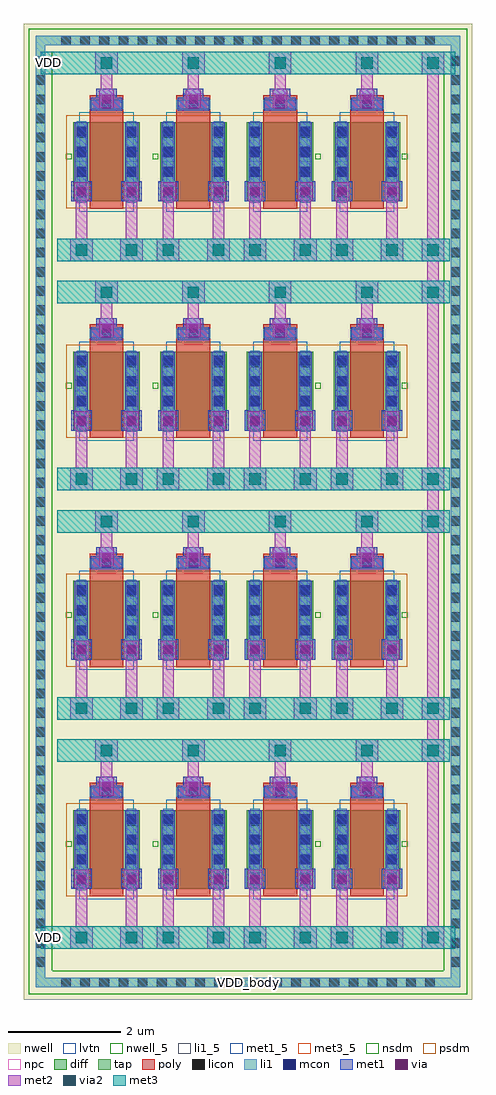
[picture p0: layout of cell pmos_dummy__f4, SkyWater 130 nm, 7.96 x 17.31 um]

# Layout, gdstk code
from math import pi, radians
import gdstk
lib = gdstk.Library(unit=1e-6, precision=1e-09)
def R(c, l, rs):  # rectangles x0, y0, x1, y1
    for r in rs: c.add(gdstk.rectangle(r[:2], r[2:], *l))
def A(c, l, x, y, w, h, nx, ny, dx, dy):  # array of equal rectangles
    R(c, l, [(x+i*dx, y+j*dy, x+i*dx+w, y+j*dy+h) for i in range(nx) for j in range(ny)])
nwell_5 = (64, 5)
nwell = (64, 20)
diff = (65, 20)
tap = (65, 44)
poly = (66, 20)
licon = (66, 44)
li1_5 = (67, 5)
li1 = (67, 20)
mcon = (67, 44)
met1_5 = (68, 5)
met1 = (68, 20)
via = (68, 44)
met2 = (69, 20)
via2 = (69, 44)
met3_5 = (70, 5)
met3 = (70, 20)
nsdm = (93, 44)
psdm = (94, 20)
npc = (95, 20)
lvtn = (125, 44)

sky130_fd_pr__pfet_01v8_ = lib.new_cell('sky130_fd_pr__pfet_01v8_lvt_L7GY3J')
R(sky130_fd_pr__pfet_01v8_, nwell, [(-0.77,-1.19,0.77,1.02)])
R(sky130_fd_pr__pfet_01v8_, diff, [(-0.59,-0.88,0.59,0.52)])
R(sky130_fd_pr__pfet_01v8_, poly, [(-0.3,-1.01,0.3,1.005)])
A(sky130_fd_pr__pfet_01v8_, licon, -0.53, -0.775, 0.17, 0.17, 1, 4, 0, 0.34)
A(sky130_fd_pr__pfet_01v8_, licon, 0.36, -0.775, 0.17, 0.17, 1, 4, 0, 0.34)
R(sky130_fd_pr__pfet_01v8_, licon, [(-0.085,0.755,0.085,0.925)])
R(sky130_fd_pr__pfet_01v8_, li1, [(-0.53,-0.9,-0.36,0.54), (0.36,-0.9,0.53,0.54), (-0.3,0.755,0.3,0.925)])
A(sky130_fd_pr__pfet_01v8_, mcon, -0.53, -0.805, 0.17, 0.17, 1, 4, 0, 0.36)
A(sky130_fd_pr__pfet_01v8_, mcon, 0.36, -0.805, 0.17, 0.17, 1, 4, 0, 0.36)
R(sky130_fd_pr__pfet_01v8_, mcon, [(-0.085,0.755,0.085,0.925)])
R(sky130_fd_pr__pfet_01v8_, met1, [(-0.56,-0.88,-0.33,0.52), (0.33,-0.88,0.56,0.52), (-0.28,0.725,0.28,0.955)])
R(sky130_fd_pr__pfet_01v8_, psdm, [(-0.715,-1.005,0.715,0.645)])
R(sky130_fd_pr__pfet_01v8_, npc, [(-0.185,0.655,0.185,1.025)])
R(sky130_fd_pr__pfet_01v8_, lvtn, [(-0.48,-1.06,0.48,0.7)])
sky130_fd_pr__pfet_01v8_.add(gdstk.Label('D', (-0.445,-0.18), layer=67, texttype=5))
sky130_fd_pr__pfet_01v8_.add(gdstk.Label('S', (0.445,-0.18), layer=67, texttype=5))
sky130_fd_pr__pfet_01v8_.add(gdstk.Label('G', (0,0.84), layer=67, texttype=5))

pfet_01v8_lvt_w1p4_l0p6_ = lib.new_cell('pfet_01v8_lvt_W1p4_L0p6_m8__nf1_gtop_sdfull_ng')
R(pfet_01v8_lvt_w1p4_l0p6_, nwell_5, [(0.05,1.055,0.15,1.155)])
R(pfet_01v8_lvt_w1p4_l0p6_, nwell, [(0.05,1.055,0.15,1.155)])
R(pfet_01v8_lvt_w1p4_l0p6_, met1_5, [(0.21,1.01,0.44,1.21), (1.1,1.01,1.33,1.21), (0.49,1.915,1.05,2.145)])
R(pfet_01v8_lvt_w1p4_l0p6_, met1, [(0.21,1.01,0.44,1.21), (1.1,1.01,1.33,1.21), (0.49,1.915,1.05,2.145)])
pfet_01v8_lvt_w1p4_l0p6_.add(gdstk.Reference(sky130_fd_pr__pfet_01v8_, (0.77,1.19)))
pfet_01v8_lvt_w1p4_l0p6_.add(gdstk.Label('D', (0.325,1.11), layer=68, texttype=5))
pfet_01v8_lvt_w1p4_l0p6_.add(gdstk.Label('S', (1.215,1.11), layer=68, texttype=5))
pfet_01v8_lvt_w1p4_l0p6_.add(gdstk.Label('G', (0.77,2.03), layer=68, texttype=5))
pfet_01v8_lvt_w1p4_l0p6_.add(gdstk.Label('B', (0.1,1.105), layer=64, texttype=5))

pmos_dummy__f4 = lib.new_cell('pmos_dummy__f4')
R(pmos_dummy__f4, nwell, [(-0.7,-1.65,7.26,15.66)])
R(pmos_dummy__f4, tap, [(-0.485,-1.435,7.045,-1.265), (-0.485,-1.265,-0.315,15.275), (6.875,-1.265,7.045,15.275), (-0.485,15.275,7.045,15.445)])
A(pmos_dummy__f4, licon, -0.035, -1.435, 0.17, 0.17, 20, 2, 0.34, 16.71)
A(pmos_dummy__f4, licon, -0.485, -1.07, 0.17, 0.17, 1, 48, 0, 0.34)
A(pmos_dummy__f4, licon, 6.875, -1.07, 0.17, 0.17, 1, 48, 0, 0.34)
R(pmos_dummy__f4, li1_5, [(3.23,-1.4,3.33,-1.3)])
R(pmos_dummy__f4, li1, [(-0.485,-1.435,7.045,-1.265), (-0.485,-1.265,-0.315,15.275), (6.875,-1.265,7.045,15.275), (-0.485,15.275,7.045,15.445)])
A(pmos_dummy__f4, met1, 0.145, 0.31, 0.36, 0.36, 1, 4, 0, 4.065)
A(pmos_dummy__f4, met1, 1.035, 0.31, 0.36, 0.36, 1, 4, 0, 4.065)
A(pmos_dummy__f4, met1, 1.685, 0.31, 0.36, 0.36, 1, 4, 0, 4.065)
A(pmos_dummy__f4, met1, 2.575, 0.31, 0.36, 0.36, 1, 4, 0, 4.065)
A(pmos_dummy__f4, met1, 3.225, 0.31, 0.36, 0.36, 1, 4, 0, 4.065)
A(pmos_dummy__f4, met1, 4.115, 0.31, 0.36, 0.36, 1, 4, 0, 4.065)
A(pmos_dummy__f4, met1, 4.765, 0.31, 0.36, 0.36, 1, 4, 0, 4.065)
A(pmos_dummy__f4, met1, 5.655, 0.31, 0.36, 0.36, 1, 4, 0, 4.065)
A(pmos_dummy__f4, met1, 0.59, 1.945, 0.36, 0.36, 4, 4, 1.54, 4.065)
A(pmos_dummy__f4, via, 0.25, 0.415, 0.15, 0.15, 1, 4, 0, 4.065)
A(pmos_dummy__f4, via, 1.14, 0.415, 0.15, 0.15, 1, 4, 0, 4.065)
A(pmos_dummy__f4, via, 1.79, 0.415, 0.15, 0.15, 1, 4, 0, 4.065)
A(pmos_dummy__f4, via, 2.68, 0.415, 0.15, 0.15, 1, 4, 0, 4.065)
A(pmos_dummy__f4, via, 3.33, 0.415, 0.15, 0.15, 1, 4, 0, 4.065)
A(pmos_dummy__f4, via, 4.22, 0.415, 0.15, 0.15, 1, 4, 0, 4.065)
A(pmos_dummy__f4, via, 4.87, 0.415, 0.15, 0.15, 1, 4, 0, 4.065)
A(pmos_dummy__f4, via, 5.76, 0.415, 0.15, 0.15, 1, 4, 0, 4.065)
A(pmos_dummy__f4, via, 0.695, 2.05, 0.15, 0.15, 4, 4, 1.54, 4.065)
A(pmos_dummy__f4, met2, 0.125, -0.75, 0.4, 0.4, 1, 4, 0, 4.065)
A(pmos_dummy__f4, met2, 1.015, -0.75, 0.4, 0.4, 1, 4, 0, 4.065)
A(pmos_dummy__f4, met2, 1.665, -0.75, 0.4, 0.4, 1, 4, 0, 4.065)
A(pmos_dummy__f4, met2, 2.555, -0.75, 0.4, 0.4, 1, 4, 0, 4.065)
A(pmos_dummy__f4, met2, 3.205, -0.75, 0.4, 0.4, 1, 4, 0, 4.065)
A(pmos_dummy__f4, met2, 4.095, -0.75, 0.4, 0.4, 1, 4, 0, 4.065)
A(pmos_dummy__f4, met2, 4.745, -0.75, 0.4, 0.4, 1, 4, 0, 4.065)
A(pmos_dummy__f4, met2, 5.635, -0.75, 0.4, 0.4, 1, 4, 0, 4.065)
A(pmos_dummy__f4, met2, 0.225, -0.35, 0.2, 0.68, 1, 4, 0, 4.065)
A(pmos_dummy__f4, met2, 1.115, -0.35, 0.2, 0.68, 1, 4, 0, 4.065)
A(pmos_dummy__f4, met2, 1.765, -0.35, 0.2, 0.68, 1, 4, 0, 4.065)
A(pmos_dummy__f4, met2, 2.655, -0.35, 0.2, 0.68, 1, 4, 0, 4.065)
A(pmos_dummy__f4, met2, 3.305, -0.35, 0.2, 0.68, 1, 4, 0, 4.065)
A(pmos_dummy__f4, met2, 4.195, -0.35, 0.2, 0.68, 1, 4, 0, 4.065)
A(pmos_dummy__f4, met2, 4.845, -0.35, 0.2, 0.68, 1, 4, 0, 4.065)
A(pmos_dummy__f4, met2, 5.735, -0.35, 0.2, 0.68, 1, 4, 0, 4.065)
A(pmos_dummy__f4, met2, 6.46, -0.35, 0.2, 2.915, 1, 4, 0, 4.065)
A(pmos_dummy__f4, met2, 0.195, 0.33, 0.26, 0.32, 1, 4, 0, 4.065)
A(pmos_dummy__f4, met2, 1.085, 0.33, 0.26, 0.32, 1, 4, 0, 4.065)
A(pmos_dummy__f4, met2, 1.735, 0.33, 0.26, 0.32, 1, 4, 0, 4.065)
A(pmos_dummy__f4, met2, 2.625, 0.33, 0.26, 0.32, 1, 4, 0, 4.065)
A(pmos_dummy__f4, met2, 3.275, 0.33, 0.26, 0.32, 1, 4, 0, 4.065)
A(pmos_dummy__f4, met2, 4.165, 0.33, 0.26, 0.32, 1, 4, 0, 4.065)
A(pmos_dummy__f4, met2, 4.815, 0.33, 0.26, 0.32, 1, 4, 0, 4.065)
A(pmos_dummy__f4, met2, 5.705, 0.33, 0.26, 0.32, 1, 4, 0, 4.065)
A(pmos_dummy__f4, met2, 0.64, 1.965, 0.26, 0.32, 4, 4, 1.54, 4.065)
A(pmos_dummy__f4, met2, 0.67, 2.285, 0.2, 0.28, 4, 4, 1.54, 4.065)
A(pmos_dummy__f4, met2, 0.57, 2.565, 0.4, 0.4, 4, 4, 1.54, 4.065)
A(pmos_dummy__f4, met2, 6.46, 2.965, 0.2, 0.35, 1, 3, 0, 4.065)
R(pmos_dummy__f4, met2, [(6.36,-0.75,6.76,-0.35), (6.36,2.565,6.76,2.965), (6.36,3.315,6.76,3.715), (6.36,6.63,6.76,7.03), (6.36,7.38,6.76,7.78), (6.36,10.695,6.76,11.095), (6.36,11.445,6.76,11.845), (6.36,14.76,6.76,15.16)])
A(pmos_dummy__f4, via2, 0.225, -0.65, 0.2, 0.2, 1, 4, 0, 4.065)
A(pmos_dummy__f4, via2, 1.115, -0.65, 0.2, 0.2, 1, 4, 0, 4.065)
A(pmos_dummy__f4, via2, 1.765, -0.65, 0.2, 0.2, 1, 4, 0, 4.065)
A(pmos_dummy__f4, via2, 2.655, -0.65, 0.2, 0.2, 1, 4, 0, 4.065)
A(pmos_dummy__f4, via2, 3.305, -0.65, 0.2, 0.2, 1, 4, 0, 4.065)
A(pmos_dummy__f4, via2, 4.195, -0.65, 0.2, 0.2, 1, 4, 0, 4.065)
A(pmos_dummy__f4, via2, 4.845, -0.65, 0.2, 0.2, 1, 4, 0, 4.065)
A(pmos_dummy__f4, via2, 5.735, -0.65, 0.2, 0.2, 1, 4, 0, 4.065)
A(pmos_dummy__f4, via2, 0.67, 2.665, 0.2, 0.2, 4, 4, 1.54, 4.065)
R(pmos_dummy__f4, via2, [(6.46,-0.65,6.66,-0.45), (6.46,2.665,6.66,2.865), (6.46,3.415,6.66,3.615), (6.46,6.73,6.66,6.93), (6.46,7.48,6.66,7.68), (6.46,10.795,6.66,10.995), (6.46,11.545,6.66,11.745), (6.46,14.86,6.66,15.06)])
R(pmos_dummy__f4, met3_5, [(-0.3,-0.6,-0.2,-0.5), (-0.3,14.91,-0.2,15.01)])
R(pmos_dummy__f4, met3, [(-0.4,-0.75,6.96,-0.35), (-0.1,2.565,6.86,2.965), (-0.1,3.315,6.86,3.715), (-0.1,6.63,6.86,7.03), (-0.1,7.38,6.86,7.78), (-0.1,10.695,6.86,11.095), (-0.1,11.445,6.86,11.845), (-0.4,14.76,6.96,15.16)])
R(pmos_dummy__f4, nsdm, [(-0.61,-1.56,7.17,-1.14), (-0.61,-1.14,-0.19,15.15), (6.75,-1.14,7.17,15.15), (-0.61,15.15,7.17,15.57)])
A(pmos_dummy__f4, psdm, 1.485, 0.185, 0.11, 1.65, 3, 4, 1.54, 4.065)
pmos_dummy__f4.add(gdstk.Reference(pfet_01v8_lvt_w1p4_l0p6_, (6.16,12.195), rotation=pi, x_reflection=True))
pmos_dummy__f4.add(gdstk.Reference(pfet_01v8_lvt_w1p4_l0p6_, (4.62,12.195), rotation=pi, x_reflection=True))
pmos_dummy__f4.add(gdstk.Reference(pfet_01v8_lvt_w1p4_l0p6_, (1.54,12.195)))
pmos_dummy__f4.add(gdstk.Reference(pfet_01v8_lvt_w1p4_l0p6_, (0,12.195)))
pmos_dummy__f4.add(gdstk.Reference(pfet_01v8_lvt_w1p4_l0p6_, (6.16,8.13), rotation=pi, x_reflection=True))
pmos_dummy__f4.add(gdstk.Reference(pfet_01v8_lvt_w1p4_l0p6_, (4.62,8.13), rotation=pi, x_reflection=True))
pmos_dummy__f4.add(gdstk.Reference(pfet_01v8_lvt_w1p4_l0p6_, (1.54,8.13)))
pmos_dummy__f4.add(gdstk.Reference(pfet_01v8_lvt_w1p4_l0p6_, (0,8.13)))
pmos_dummy__f4.add(gdstk.Reference(pfet_01v8_lvt_w1p4_l0p6_, (6.16,4.065), rotation=pi, x_reflection=True))
pmos_dummy__f4.add(gdstk.Reference(pfet_01v8_lvt_w1p4_l0p6_, (4.62,4.065), rotation=pi, x_reflection=True))
pmos_dummy__f4.add(gdstk.Reference(pfet_01v8_lvt_w1p4_l0p6_, (1.54,4.065)))
pmos_dummy__f4.add(gdstk.Reference(pfet_01v8_lvt_w1p4_l0p6_, (0,4.065)))
pmos_dummy__f4.add(gdstk.Reference(pfet_01v8_lvt_w1p4_l0p6_, (6.16,0), rotation=pi, x_reflection=True))
pmos_dummy__f4.add(gdstk.Reference(pfet_01v8_lvt_w1p4_l0p6_, (4.62,0), rotation=pi, x_reflection=True))
pmos_dummy__f4.add(gdstk.Reference(pfet_01v8_lvt_w1p4_l0p6_, (1.54,0)))
pmos_dummy__f4.add(gdstk.Reference(pfet_01v8_lvt_w1p4_l0p6_, (0,0)))
pmos_dummy__f4.add(gdstk.Label('VDD', (-0.25,14.96), layer=70, texttype=5))
pmos_dummy__f4.add(gdstk.Label('VDD', (-0.25,-0.55), layer=70, texttype=5))
pmos_dummy__f4.add(gdstk.Label('VDD_body', (3.28,-1.35), layer=67, texttype=5))

lib.write_gds('pmos_dummy__f4.gds')
